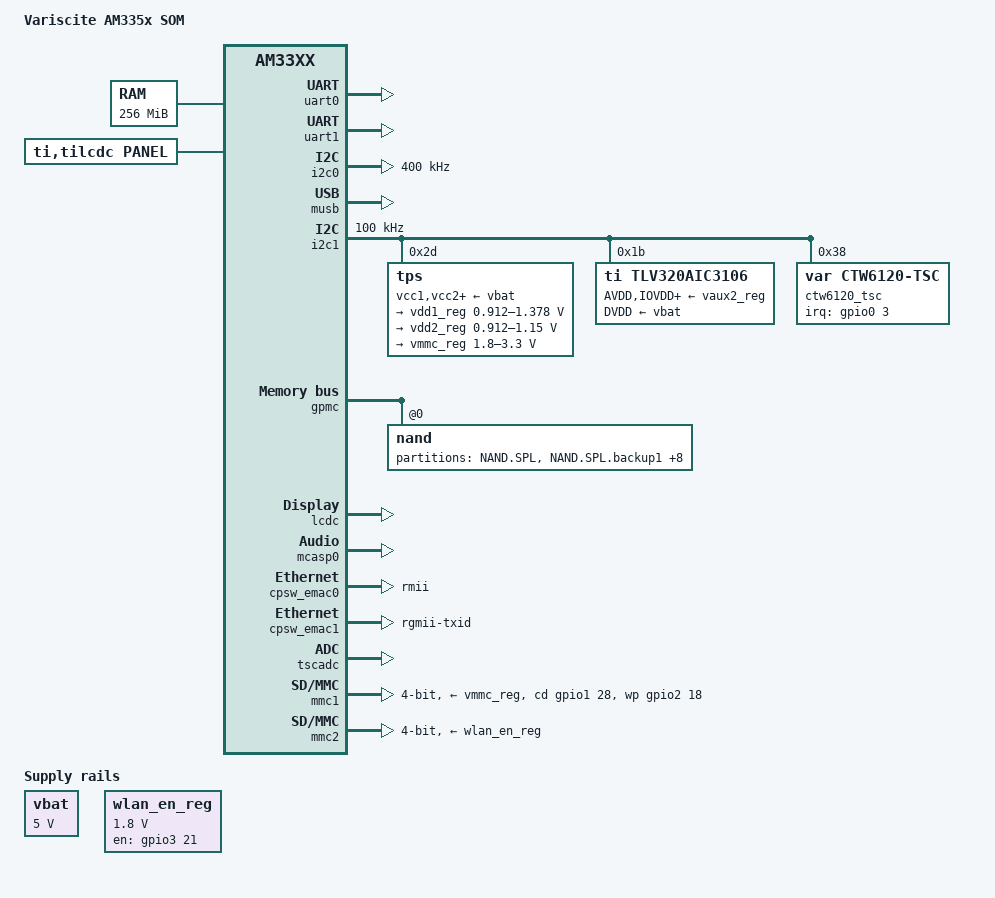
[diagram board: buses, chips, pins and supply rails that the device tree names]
/*
 * Copyright (C) 2014 Variscite LTD - http://www.variscite.com/
 *
 * This program is free software; you can redistribute it and/or modify
 * it under the terms of the GNU General Public License version 2 as
 * published by the Free Software Foundation.
 */
/dts-v1/;

#include "am33xx.dtsi"

/ {
	model = "Variscite AM335x SOM";
	compatible = "ti,var-som-am33", "ti,am33xx";

	cpus {
		cpu@0 {
			cpu0-supply = <&vdd1_reg>;
		};
	};

	memory {
		device_type = "memory";
		reg = <0x80000000 0x10000000>; /* 256 MB */
	};

	am33xx_pinmux: pinmux@44e10800 {
		pinctrl-names = "default";
		pinctrl-0 = <&clkout1_pin &mmc1_pins &wlan_pins>;

		i2c0_pins: pinmux_i2c0_pins {
			pinctrl-single,pins = <
				0x188 (PIN_INPUT_PULLUP | MUX_MODE0)	/* i2c0_sda.i2c0_sda */
				0x18c (PIN_INPUT_PULLUP | MUX_MODE0)	/* i2c0_scl.i2c0_scl */
			>;
		};

		i2c1_pins: pinmux_i2c1_pins {
			pinctrl-single,pins = <
				0x158 (PIN_INPUT_PULLUP | MUX_MODE2)	/* spi0_d1.i2c1_sda */
				0x15c (PIN_INPUT_PULLUP | MUX_MODE2)	/* spi0_cs0.i2c1_scl */
			>;
		};

		uart0_pins: pinmux_uart0_pins {
			pinctrl-single,pins = <
				0x170 (PIN_INPUT_PULLUP | MUX_MODE0)	/* uart0_rxd.uart0_rxd */
				0x174 (PIN_OUTPUT_PULLDOWN | MUX_MODE0)	/* uart0_txd.uart0_txd */
			>;
		};

		uart1_pins_default: pinmux_uart1_pins_default {
			pinctrl-single,pins = <
				0x178 (PIN_INPUT | MUX_MODE0)			/* uart1_ctsn.uart1_ctsn */
				0x17C (PIN_OUTPUT_PULLDOWN | MUX_MODE0)	/* uart1_rtsn.uart1_rtsn */
				0x180 (PIN_INPUT_PULLUP | MUX_MODE0)	/* uart1_rxd.uart1_rxd */
				0x184 (PIN_OUTPUT | MUX_MODE0)			/* uart1_txd.uart1_txd */
			>;
		};

		uart1_pins_sleep: pinmux_uart1_pins_sleep {
			pinctrl-single,pins = <
				0x178 (PIN_INPUT_PULLDOWN | MUX_MODE7)
				0x17C (PIN_INPUT_PULLDOWN | MUX_MODE7)
				0x180 (PIN_INPUT_PULLDOWN | MUX_MODE7)
				0x184 (PIN_INPUT_PULLDOWN | MUX_MODE7)
			>;
		};

		clkout1_pin: pinmux_clkout1_pin {
			pinctrl-single,pins = <
				0x1b0 (PIN_OUTPUT_PULLDOWN | MUX_MODE3)	/* xdma_event_intr0.clkout1 */
			>;
		};

		nandflash_pins_default: nandflash_pins_default {
			pinctrl-single,pins = <
				0x0 (PIN_INPUT_PULLUP | MUX_MODE0)	/* gpmc_ad0.gpmc_ad0 */
				0x4 (PIN_INPUT_PULLUP | MUX_MODE0)	/* gpmc_ad1.gpmc_ad1 */
				0x8 (PIN_INPUT_PULLUP | MUX_MODE0)	/* gpmc_ad2.gpmc_ad2 */
				0xc (PIN_INPUT_PULLUP | MUX_MODE0)	/* gpmc_ad3.gpmc_ad3 */
				0x10 (PIN_INPUT_PULLUP | MUX_MODE0)	/* gpmc_ad4.gpmc_ad4 */
				0x14 (PIN_INPUT_PULLUP | MUX_MODE0)	/* gpmc_ad5.gpmc_ad5 */
				0x18 (PIN_INPUT_PULLUP | MUX_MODE0)	/* gpmc_ad6.gpmc_ad6 */
				0x1c (PIN_INPUT_PULLUP | MUX_MODE0)	/* gpmc_ad7.gpmc_ad7 */
				0x70 (PIN_INPUT_PULLUP | MUX_MODE0)	/* gpmc_wait0.gpmc_wait0 */
				0x74 (PIN_INPUT_PULLUP | MUX_MODE7)	/* gpmc_wpn.gpio0_30 */
				0x7c (PIN_OUTPUT | MUX_MODE0)		/* gpmc_csn0.gpmc_csn0  */
				0x90 (PIN_OUTPUT | MUX_MODE0)		/* gpmc_advn_ale.gpmc_advn_ale */
				0x94 (PIN_OUTPUT | MUX_MODE0)		/* gpmc_oen_ren.gpmc_oen_ren */
				0x98 (PIN_OUTPUT | MUX_MODE0)		/* gpmc_wen.gpmc_wen */
				0x9c (PIN_OUTPUT | MUX_MODE0)		/* gpmc_ben0_cle.gpmc_ben0_cle */
			>;
		};

		nandflash_pins_sleep: nandflash_pins_sleep {
			pinctrl-single,pins = <
				0x0 (PIN_INPUT_PULLDOWN | MUX_MODE7)
				0x4 (PIN_INPUT_PULLDOWN | MUX_MODE7)
				0x8 (PIN_INPUT_PULLDOWN | MUX_MODE7)
				0xc (PIN_INPUT_PULLDOWN | MUX_MODE7)
				0x10 (PIN_INPUT_PULLDOWN | MUX_MODE7)
				0x14 (PIN_INPUT_PULLDOWN | MUX_MODE7)
				0x18 (PIN_INPUT_PULLDOWN | MUX_MODE7)
				0x1c (PIN_INPUT_PULLDOWN | MUX_MODE7)
				0x70 (PIN_INPUT_PULLDOWN | MUX_MODE7)
				0x74 (PIN_INPUT_PULLDOWN | MUX_MODE7)
				0x7c (PIN_INPUT_PULLDOWN | MUX_MODE7)
				0x90 (PIN_INPUT_PULLDOWN | MUX_MODE7)
				0x94 (PIN_INPUT_PULLDOWN | MUX_MODE7)
				0x98 (PIN_INPUT_PULLDOWN | MUX_MODE7)
				0x9c (PIN_INPUT_PULLDOWN | MUX_MODE7)
			>;
		};

		cpsw_default: cpsw_default {
			pinctrl-single,pins = <
				/* Slave 1 */
				0x10c (PIN_INPUT_PULLDOWN | MUX_MODE1)     /* mii1_crs.rmii1_crs_dv */
				0x110 (PIN_INPUT_PULLDOWN | MUX_MODE1)     /* mii1_rxerr.rmii1_rxerr */
				0x114 (PIN_OUTPUT | MUX_MODE1)             /* mii1_txen.rmii1_txen */
				0x124 (PIN_OUTPUT | MUX_MODE1)             /* mii1_txd1.rmii1_txd1 */
				0x128 (PIN_OUTPUT | MUX_MODE1)             /* mii1_txd0.rmii1_txd0 */
				0x13c (PIN_INPUT_PULLDOWN | MUX_MODE1)     /* mii1_rxd1.rmii1_rxd1 */
				0x140 (PIN_INPUT_PULLDOWN | MUX_MODE1)     /* mii1_rxd0.rmii1_rxd0 */
				0x144 (PIN_INPUT_PULLDOWN | MUX_MODE0)     /* rmii1_refclk.rmii1_refclk */
				0x138 (PIN_INPUT_PULLUP | MUX_MODE7)       /* mii1_rxd2.gpio2_19 */

				/* Slave 2 */
				0x40 (PIN_OUTPUT | MUX_MODE2)	           /* gpmc_a0.rgmii2_tctl */
				0x44 (PIN_INPUT_PULLDOWN | MUX_MODE2)	   /* gpmc_a1.rgmii2_rctl */
				0x48 (PIN_OUTPUT | MUX_MODE2)	           /* gpmc_a2.rgmii2_td3 */
				0x4c (PIN_OUTPUT | MUX_MODE2)              /* gpmc_a3.rgmii2_td2 */
				0x50 (PIN_OUTPUT | MUX_MODE2)              /* gpmc_a4.rgmii2_td1 */
				0x54 (PIN_OUTPUT | MUX_MODE2)              /* gpmc_a5.rgmii2_td0 */
				0x58 (PIN_OUTPUT | MUX_MODE2)              /* gpmc_a6.rgmii2_tclk */
				0x5c (PIN_INPUT_PULLDOWN | MUX_MODE2)      /* gpmc_a7.rgmii2_rclk */
				0x60 (PIN_INPUT_PULLDOWN | MUX_MODE2)      /* gpmc_a8.rgmii2_rd3 */
				0x64 (PIN_INPUT_PULLDOWN | MUX_MODE2)      /* gpmc_a9.rgmii2_rd2 */
				0x68 (PIN_INPUT_PULLDOWN | MUX_MODE2)      /* gpmc_a10.rgmii2_rd1 */
				0x6c (PIN_INPUT_PULLDOWN | MUX_MODE2)      /* gpmc_a11.rgmii2_rd0 */
				0x108 (PIN_INPUT_PULLDOWN | MUX_MODE1)     /* mii1_col.rmii2_refclk */
				0x130 (PIN_INPUT_PULLUP | MUX_MODE7)       /* mii1_rxclk.gpio3_10 */
			>;
		};

		cpsw_sleep: cpsw_sleep {
			pinctrl-single,pins = <
				/* Slave 1 reset value */
				0x10c (PIN_INPUT_PULLDOWN | MUX_MODE7)
				0x110 (PIN_INPUT_PULLDOWN | MUX_MODE7)
				0x114 (PIN_INPUT_PULLDOWN | MUX_MODE7)
				0x124 (PIN_INPUT_PULLDOWN | MUX_MODE7)
				0x128 (PIN_INPUT_PULLDOWN | MUX_MODE7)
				0x13c (PIN_INPUT_PULLDOWN | MUX_MODE7)
				0x140 (PIN_INPUT_PULLDOWN | MUX_MODE7)
				0x144 (PIN_INPUT_PULLDOWN | MUX_MODE7)
				0x138 (PIN_INPUT_PULLUP | MUX_MODE7)       /* mii1_rxd2.gpio2_19 */

				/* Slave 2 reset value */
				0x40 (PIN_INPUT_PULLDOWN | MUX_MODE7) 
				0x44 (PIN_INPUT_PULLDOWN | MUX_MODE7)
				0x48 (PIN_INPUT_PULLDOWN | MUX_MODE7)
				0x4c (PIN_INPUT_PULLDOWN | MUX_MODE7)
				0x50 (PIN_INPUT_PULLDOWN | MUX_MODE7)
				0x54 (PIN_INPUT_PULLDOWN | MUX_MODE7)
				0x58 (PIN_INPUT_PULLDOWN | MUX_MODE7)
				0x5c (PIN_INPUT_PULLDOWN | MUX_MODE7)
				0x60 (PIN_INPUT_PULLDOWN | MUX_MODE7)
				0x64 (PIN_INPUT_PULLDOWN | MUX_MODE7)
				0x68 (PIN_INPUT_PULLDOWN | MUX_MODE7)
				0x6c (PIN_INPUT_PULLDOWN | MUX_MODE7)
			>;
		};

		davinci_mdio_default: davinci_mdio_default {
			pinctrl-single,pins = <
				/* MDIO */
				0x148 (PIN_INPUT_PULLUP | SLEWCTRL_FAST | MUX_MODE0)	/* mdio_data.mdio_data */
				0x14c (PIN_OUTPUT_PULLUP | MUX_MODE0)			/* mdio_clk.mdio_clk */
			>;
		};

		davinci_mdio_sleep: davinci_mdio_sleep {
			pinctrl-single,pins = <
				/* MDIO reset value */
				0x148 (PIN_INPUT_PULLDOWN | MUX_MODE7)
				0x14c (PIN_INPUT_PULLDOWN | MUX_MODE7)
			>;
		};

		mmc0_pins_default: pinmux_mmc0_pins {
			pinctrl-single,pins = <
				0x0F0 (PIN_INPUT_PULLUP | MUX_MODE0)	/* mmc0_dat3.mmc0_dat3 */
				0x0F4 (PIN_INPUT_PULLUP | MUX_MODE0)	/* mmc0_dat2.mmc0_dat2 */
				0x0F8 (PIN_INPUT_PULLUP | MUX_MODE0)	/* mmc0_dat1.mmc0_dat1 */
				0x0FC (PIN_INPUT_PULLUP | MUX_MODE0)	/* mmc0_dat0.mmc0_dat0 */
				0x100 (PIN_INPUT_PULLUP | MUX_MODE0)	/* mmc0_clk.mmc0_clk */
				0x104 (PIN_INPUT_PULLUP | MUX_MODE0)	/* mmc0_cmd.mmc0_cmd */
				0x78  (PIN_INPUT_PULLUP | MUX_MODE7)	/* gpmc_ben1.gpio1_28 */
				0x134 (PIN_INPUT_PULLUP | MUX_MODE7)	/* mii1_rxd3.gpio2_18 */
			>;
		};

		mmc0_pins_sleep: pinmux_mmc0_pins_sleep {
			pinctrl-single,pins = <
				0x0F0 (PIN_INPUT_PULLDOWN | MUX_MODE7)
				0x0F4 (PIN_INPUT_PULLDOWN | MUX_MODE7)
				0x0F8 (PIN_INPUT_PULLDOWN | MUX_MODE7)
				0x0FC (PIN_INPUT_PULLDOWN | MUX_MODE7)
				0x100 (PIN_INPUT_PULLDOWN | MUX_MODE7)
				0x104 (PIN_INPUT_PULLDOWN | MUX_MODE7)
				0x78  (PIN_INPUT_PULLDOWN | MUX_MODE7)
				0x134 (PIN_INPUT_PULLDOWN | MUX_MODE7)
			>;
		};

		lcd_pins_default: lcd_pins_default {
			pinctrl-single,pins = <
				0xa0 0x00	/* lcd_data0.lcd_data0, OUTPUT | MODE0 */
				0xa4 0x00	/* lcd_data1.lcd_data1, OUTPUT | MODE0 */
				0xa8 0x00	/* lcd_data2.lcd_data2, OUTPUT | MODE0 */
				0xac 0x00	/* lcd_data3.lcd_data3, OUTPUT | MODE0 */
				0xb0 0x00	/* lcd_data4.lcd_data4, OUTPUT | MODE0 */
				0xb4 0x00	/* lcd_data5.lcd_data5, OUTPUT | MODE0 */
				0xb8 0x00	/* lcd_data6.lcd_data6, OUTPUT | MODE0 */
				0xbc 0x00	/* lcd_data7.lcd_data7, OUTPUT | MODE0 */
				0xc0 0x00	/* lcd_data8.lcd_data8, OUTPUT | MODE0 */
				0xc4 0x00	/* lcd_data9.lcd_data9, OUTPUT | MODE0 */
				0xc8 0x00	/* lcd_data10.lcd_data10, OUTPUT | MODE0 */
				0xcc 0x00	/* lcd_data11.lcd_data11, OUTPUT | MODE0 */
				0xd0 0x00	/* lcd_data12.lcd_data12, OUTPUT | MODE0 */
				0xd4 0x00	/* lcd_data13.lcd_data13, OUTPUT | MODE0 */
				0xd8 0x00	/* lcd_data14.lcd_data14, OUTPUT | MODE0 */
				0xdc 0x00	/* lcd_data15.lcd_data15, OUTPUT | MODE0 */
				0xe0 0x00	/* lcd_vsync.lcd_vsync, OUTPUT | MODE0 */
				0xe4 0x00	/* lcd_hsync.lcd_hsync, OUTPUT | MODE0 */
				0xe8 0x00	/* lcd_pclk.lcd_pclk, OUTPUT | MODE0 */
				0xec 0x00	/* lcd_ac_bias_en.lcd_ac_bias_en, OUTPUT | MODE0 */
			>;
		};

		lcd_pins_sleep: lcd_pins_sleep {
			pinctrl-single,pins = <
				0xa0 (PULL_DISABLE | MUX_MODE7)		/* lcd_data0.lcd_data0 */
				0xa4 (PULL_DISABLE | MUX_MODE7)		/* lcd_data1.lcd_data1 */
				0xa8 (PULL_DISABLE | MUX_MODE7)		/* lcd_data2.lcd_data2 */
				0xac (PULL_DISABLE | MUX_MODE7)		/* lcd_data3.lcd_data3 */
				0xb0 (PULL_DISABLE | MUX_MODE7)		/* lcd_data4.lcd_data4 */
				0xb4 (PULL_DISABLE | MUX_MODE7)		/* lcd_data5.lcd_data5 */
				0xb8 (PULL_DISABLE | MUX_MODE7)		/* lcd_data6.lcd_data6 */
				0xbc (PULL_DISABLE | MUX_MODE7)		/* lcd_data7.lcd_data7 */
				0xc0 (PULL_DISABLE | MUX_MODE7)		/* lcd_data8.lcd_data8 */
				0xc4 (PULL_DISABLE | MUX_MODE7)		/* lcd_data9.lcd_data9 */
				0xc8 (PULL_DISABLE | MUX_MODE7)		/* lcd_data10.lcd_data10 */
				0xcc (PULL_DISABLE | MUX_MODE7)		/* lcd_data11.lcd_data11 */
				0xd0 (PULL_DISABLE | MUX_MODE7)		/* lcd_data12.lcd_data12 */
				0xd4 (PULL_DISABLE | MUX_MODE7)		/* lcd_data13.lcd_data13 */
				0xd8 (PULL_DISABLE | MUX_MODE7)		/* lcd_data14.lcd_data14 */
				0xdc (PULL_DISABLE | MUX_MODE7)		/* lcd_data15.lcd_data15 */
				0xe0 (PIN_INPUT_PULLDOWN | MUX_MODE7)	/* lcd_vsync.lcd_vsync, OUTPUT | MODE0 */
				0xe4 (PIN_INPUT_PULLDOWN | MUX_MODE7)	/* lcd_hsync.lcd_hsync */
				0xe8 (PIN_INPUT_PULLDOWN | MUX_MODE7)	/* lcd_pclk.lcd_pclk */
				0xec (PIN_INPUT_PULLDOWN | MUX_MODE7)	/* lcd_ac_bias_en.lcd_ac_bias_en */
			>;
		};

		mcasp0_pins: mcasp0_pins {
			pinctrl-single,pins = <
				0x190 (PIN_INPUT_PULLDOWN | MUX_MODE0)  /* mcasp0_aclkx.mcasp0_aclkx */
				0x194 (PIN_INPUT_PULLDOWN | MUX_MODE0)  /* mcasp0_fsx.mcasp0_fsx */
				0x1A0 (PIN_INPUT_PULLDOWN | MUX_MODE2)  /* mcasp0_aclkr.mcasp0_axr2 */
				0x1A4 (PIN_INPUT_PULLDOWN | MUX_MODE2)  /* mcasp0_fsr.mcasp0_axr3 */
			>;
		};

		mcasp0_sleep_pins: mcasp0_sleep_pins {
			pinctrl-single,pins = <
				0x190 (PIN_INPUT_PULLDOWN | MUX_MODE7)
				0x194 (PIN_INPUT_PULLDOWN | MUX_MODE7)
				0x1A0 (PIN_INPUT_PULLDOWN | MUX_MODE7)
				0x1A4 (PIN_INPUT_PULLDOWN | MUX_MODE7)
			>;
		};

		/* wl12xx/wl18xx card on mmc1 */
		mmc1_pins: pinmux_mmc1_pins {
			pinctrl-single,pins = <
				0x20 (PIN_INPUT_PULLUP | MUX_MODE2)	/* gpmc_ad8.mmc1_dat0 */
				0x24 (PIN_INPUT_PULLUP | MUX_MODE2)	/* gpmc_ad9.mmc1_dat1 */
				0x28 (PIN_INPUT_PULLUP | MUX_MODE2)	/* gpmc_ad10.mmc1_dat2 */
				0x2c (PIN_INPUT_PULLUP | MUX_MODE2)	/* gpmc_ad11.mmc1_dat3 */
				0x84 (PIN_INPUT_PULLUP | MUX_MODE2)	/* gpmc_csn2.mmc1_cmd */
				0x80 (PIN_INPUT_PULLUP | MUX_MODE2)	/* gpmc_csn1.mmc1_clk */
			>;
		};

		/* wl12xx/wl18xx card enable/irq GPIOs. */
		wlan_pins: pinmux_wlan_pins {
			pinctrl-single,pins = <
				0x1AC 0x07	/* mcasp0_ahclkx.gpio3_21, OUTPUT | MODE7 */
				0x1A8 0x27	/* mcasp0_axr1.gpio3_20, INPUT | MODE7 */
				0x12C 0x17	/* mii1_txclk.gpio3_9, OUTPUT_PULLUP | MODE7 */
			>;
		};

		/* ctw6120 irq GPIO. */
		ctw6120_pins: pinmux_ctw6120_pins {
			pinctrl-single,pins = <
				0x154 0x27	/* spi0_d0.gpio0_3, INPUT | MODE7 */
			>;
		};
	};

	ocp {
		uart0: serial@44e09000 {
			pinctrl-names = "default";
			pinctrl-0 = <&uart0_pins>;

			status = "okay";
		};

		uart1: serial@48022000 {
			pinctrl-names = "default", "sleep";
			pinctrl-0 = <&uart1_pins_default>;
			pinctrl-1 = <&uart1_pins_sleep>;

			status = "okay";
		};

		i2c0: i2c@44e0b000 {
			pinctrl-names = "default";
			pinctrl-0 = <&i2c0_pins>;

			status = "okay";
			clock-frequency = <400000>;
			/* Set OPP50 (0.95V) for VDD core */
			sleep-sequence = /bits/ 8 <
				0x02 0x2d 0x25 0x1f /* Set VDD2 to 0.95V */
			>;

			/* Set OPP100 (1.10V) for VDD core */
			wake-sequence = /bits/ 8 <
				0x02 0x2d 0x25 0x2b /* Set VDD2 to 1.1V */
			>;
		};

		musb: usb@47400000 {
			status = "okay";

			control@44e10000 {
				status = "okay";
			};

			usb-phy@47401300 {
				status = "okay";
			};

			usb-phy@47401b00 {
				status = "okay";
			};

			usb@47401000 {
				status = "okay";
				dr_mode = "host";
			};

			usb@47401800 {
				status = "okay";
			};

			dma-controller@07402000  {
				status = "okay";
			};
		};

		i2c1: i2c@4802a000 {
			pinctrl-names = "default";
			pinctrl-0 = <&i2c1_pins>;

			status = "okay";
			clock-frequency = <100000>;

			tps: tps@2d {
				reg = <0x2d>;
			};

			tlv320aic3106: tlv320aic3106@1b {
				compatible = "ti,tlv320aic3106";
				reg = <0x1b>;
				status = "okay";

				/* Regulators */
				AVDD-supply = <&vaux2_reg>;
				IOVDD-supply = <&vaux2_reg>;
				DRVDD-supply = <&vaux2_reg>;
				DVDD-supply = <&vbat>;
			};

			ctw6120_tsc@38 {
				compatible = "var,ctw6120-tsc";
				pinctrl-names = "default";
				pinctrl-0 = <&ctw6120_pins>;
				reg = <0x38>;
				interrupt-parent = <&gpio0>;
				interrupts = <3>;

				x-size = <800>;
				y-size = <480>;
			};
		};

		elm: elm@48080000 {
			status = "okay";
		};

		gpmc: gpmc@50000000 {
			status = "okay";
			pinctrl-names = "default", "sleep";
			pinctrl-0 = <&nandflash_pins_default>;
			pinctrl-1 = <&nandflash_pins_sleep>;
			ranges = <0 0 0x08000000 0x10000000>;	/* CS0: NAND */
			nand@0,0 {
				reg = <0 0 0>; /* CS0, offset 0 */
				nand-bus-width = <8>;
				gpmc,device-width = <1>;
				gpmc,sync-clk-ps = <0>;
				gpmc,cs-on-ns = <0>;
				gpmc,cs-rd-off-ns = <44>;
				gpmc,cs-wr-off-ns = <44>;
				gpmc,adv-on-ns = <6>;
				gpmc,adv-rd-off-ns = <34>;
				gpmc,adv-wr-off-ns = <44>;
				gpmc,we-on-ns = <0>;
				gpmc,we-off-ns = <40>;
				gpmc,oe-on-ns = <0>;
				gpmc,oe-off-ns = <54>;
				gpmc,access-ns = <64>;
				gpmc,rd-cycle-ns = <82>;
				gpmc,wr-cycle-ns = <82>;
				gpmc,wait-on-read = "true";
				gpmc,wait-on-write = "true";
				gpmc,bus-turnaround-ns = <0>;
				gpmc,cycle2cycle-delay-ns = <0>;
				gpmc,clk-activation-ns = <0>;
				gpmc,wait-monitoring-ns = <0>;
				gpmc,wr-access-ns = <40>;
				gpmc,wr-data-mux-bus-ns = <0>;
				ti,nand-ecc-opt= "bch8";
				ti,elm-id = <&elm>;
				/* MTD partition table */
		                /* All SPL-* partitions are sized to minimal length
				 * which can be independently programmable. For
				 * NAND flash this is equal to size of erase-block */
				#address-cells = <1>;
				#size-cells = <1>;
				partition@0 {
					label = "NAND.SPL";
					reg = <0x00000000 0x000020000>;
				};
				partition@1 {
					label = "NAND.SPL.backup1";
					reg = <0x00020000 0x00020000>;
				};
				partition@2 {
					label = "NAND.SPL.backup2";
					reg = <0x00040000 0x00020000>;
				};
				partition@3 {
					label = "NAND.SPL.backup3";
					reg = <0x00060000 0x00020000>;
				};
				partition@4 {
					label = "NAND.u-boot-spl-os";
					reg = <0x00080000 0x00040000>;
				};
				partition@5 {
					label = "NAND.u-boot";
					reg = <0x000C0000 0x00100000>;
				};
				partition@6 {
					label = "NAND.u-boot-env";
					reg = <0x001C0000 0x00020000>;
				};
				partition@7 {
					label = "NAND.u-boot-env.backup1";
					reg = <0x001E0000 0x00020000>;
				};
				partition@8 {
					label = "NAND.kernel";
					reg = <0x00200000 0x00800000>;
				};
				partition@9 {
					label = "NAND.file-system";
					reg = <0x00A00000 0x0F600000>;
				};
			};
		};

		lcdc: lcdc@0x4830e000 {
			pinctrl-names = "default", "sleep";
			pinctrl-0 = <&lcd_pins_default>;
			pinctrl-1 = <&lcd_pins_sleep>;
			status = "okay";
			display-timings {
				800x480p62 {
					clock-frequency = <30000000>;
					hactive = <800>;
					vactive = <480>;
					hfront-porch = <39>;
					hback-porch = <39>;
					hsync-len = <47>;
					vback-porch = <29>;
					vfront-porch = <13>;
					vsync-len = <2>;
					hsync-active = <1>;
					vsync-active = <1>;
				};
			};
		};

		sound {
			compatible = "ti,da830-evm-audio";
			ti,model = "AM335x-EVM";
			ti,audio-codec = <&tlv320aic3106>;
			ti,mcasp-controller = <&mcasp0>;
			ti,codec-clock-rate = <24000000>;
			ti,audio-routing =
				"Headphone Jack",       "HPLOUT",
				"Headphone Jack",       "HPROUT",
				"LINE1L",               "Line In",
				"LINE1R",               "Line In";
		};
	};

	vbat: fixedregulator@0 {
		compatible = "regulator-fixed";
		regulator-name = "vbat";
		regulator-min-microvolt = <5000000>;
		regulator-max-microvolt = <5000000>;
		regulator-boot-on;
	};

	wlan_en_reg: fixedregulator@1 {
		compatible = "regulator-fixed";
		regulator-name = "wlan-en-regulator";
		regulator-min-microvolt = <1800000>;
		regulator-max-microvolt = <1800000>;

		/* WLAN_EN GPIO for this board - Bank3, pin21 */
		gpio = <&gpio3 21 0>;

		/* WLAN card specific delay */
		startup-delay-us = <70000>;
		enable-active-high;
	};

	panel {
		compatible = "ti,tilcdc,panel";
		status = "okay";
		pinctrl-names = "default";
		pinctrl-0 = <&lcd_pins_default>;
		panel-info {
			ac-bias           = <255>;
			ac-bias-intrpt    = <0>;
			dma-burst-sz      = <16>;
			bpp               = <32>;
			fdd               = <0x80>;
			sync-edge         = <0>;
			sync-ctrl         = <1>;
			raster-order      = <0>;
			fifo-th           = <0>;
		};

		display-timings {
			800x480p62 {
				clock-frequency = <30000000>;
				hactive = <800>;
				vactive = <480>;
				hfront-porch = <39>;
				hback-porch = <39>;
				hsync-len = <47>;
				vback-porch = <29>;
				vfront-porch = <13>;
				vsync-len = <2>;
				hsync-active = <1>;
				vsync-active = <1>;
			};
		};
	};

	wlcore {
		compatible = "wlcore";
		gpio = <116>;

		/*
		 * TODO: use edge irqs for suspend/resume.
		 * in newer kerenls, we seem to miss interrupts when
		 * working with edge irqs, so revert back to level irqs.
		 */
		 /* platform-quirks = <1>; */

		/* if a 12xx card is there, configure the clock to
		   WL12XX_REFCLOCK_38_XTAL */
		board-ref-clock = <4>;
	};

	kim {
		compatible = "kim";
		nshutdown_gpio = <105>; /* Bank3, pin21 */
		dev_name = "/dev/ttyO1";
		flow_cntrl = <1>;
		baud_rate = <3000000>;
	};

	btwilink {
		compatible = "btwilink";
	};

};

#include "tps65910.dtsi"

&mcasp0 {
		pinctrl-names = "default", "sleep";
		pinctrl-0 = <&mcasp0_pins>;
		pinctrl-1 = <&mcasp0_sleep_pins>;

		status = "okay";

		op-mode = <0>;          /* MCASP_IIS_MODE */
		tdm-slots = <2>;
		/* 16 serializer */
		serial-dir = <  /* 0: INACTIVE, 1: TX, 2: RX */
			0 0 2 1
		>;
		tx-num-evt = <32>;
		rx-num-evt = <32>;
};

&tps {
	vcc1-supply = <&vbat>;
	vcc2-supply = <&vbat>;
	vcc3-supply = <&vbat>;
	vcc4-supply = <&vbat>;
	vcc5-supply = <&vbat>;
	vcc6-supply = <&vbat>;
	vcc7-supply = <&vbat>;
	vccio-supply = <&vbat>;

	rtc:0 {
		compatible = "ti,tps65910-rtc";
		interrupts = <0>;
	};

	regulators {
		vrtc_reg: regulator@0 {
			regulator-always-on;
		};

		vio_reg: regulator@1 {
			regulator-always-on;
		};

		vdd1_reg: regulator@2 {
			/* VDD_MPU voltage limits 0.95V - 1.325V with +/-4% tolerance */
			regulator-name = "vdd_mpu";
			regulator-min-microvolt = <912500>;
			regulator-max-microvolt = <1378000>;
			regulator-boot-on;
			regulator-always-on;
		};

		vdd2_reg: regulator@3 {
			/* VDD_CORE voltage limits 0.95V - 1.1V with +/-4% tolerance */
			regulator-name = "vdd_core";
			regulator-min-microvolt = <912500>;
			regulator-max-microvolt = <1150000>;
			regulator-boot-on;
			regulator-always-on;
		};

		vdd3_reg: regulator@4 {
			regulator-always-on;
		};

		vdig1_reg: regulator@5 {
			regulator-always-on;
		};

		vdig2_reg: regulator@6 {
			regulator-always-on;
		};

		vpll_reg: regulator@7 {
			regulator-always-on;
		};

		vdac_reg: regulator@8 {
			regulator-always-on;
		};

		vaux1_reg: regulator@9 {
			regulator-always-on;
		};

		vaux2_reg: regulator@10 {
			regulator-always-on;
		};

		vaux33_reg: regulator@11 {
			regulator-always-on;
		};

		vmmc_reg: regulator@12 {
			regulator-min-microvolt = <1800000>;
			regulator-max-microvolt = <3300000>;
			regulator-always-on;
		};
	};
};

&mac {
	pinctrl-names = "default", "sleep";
	pinctrl-0 = <&cpsw_default>;
	pinctrl-1 = <&cpsw_sleep>;
	dual_emac;
};

&davinci_mdio {
	pinctrl-names = "default", "sleep";
	pinctrl-0 = <&davinci_mdio_default>;
	pinctrl-1 = <&davinci_mdio_sleep>;
};

&cpsw_emac0 {
	phy_id = <&davinci_mdio>, <1>;
	phy-mode = "rmii";
};

&cpsw_emac1 {
	phy_id = <&davinci_mdio>, <7>;
	phy-mode = "rgmii-txid";
};

&phy_sel {
	rmii-clock-ext;
};

&tscadc {
	status = "okay";
	tsc {
		ti,wires = <4>;
		ti,x-plate-resistance = <200>;
		ti,coordinate-readouts = <5>;
		ti,wire-config = <0x00 0x21 0x12 0x33>;
	};

	adc {
		ti,adc-channels = <4 5 6 7>;
	};
};

&mmc1 {
	status = "okay";
	vmmc-supply = <&vmmc_reg>;
	bus-width = <4>;
	pinctrl-names = "default", "sleep";
	pinctrl-0 = <&mmc0_pins_default>;
	pinctrl-1 = <&mmc0_pins_sleep>;
	cd-gpios = <&gpio1 28 GPIO_ACTIVE_HIGH>;
	wp-gpios = <&gpio2 18 GPIO_ACTIVE_HIGH>;
};

&mmc2 {
	status = "okay";
	vmmc-supply = <&wlan_en_reg>;
	bus-width = <4>;
	ti,non-removable;
	ti,needs-special-hs-handling;
	cap-power-off-card;
	keep-power-in-suspend;
};
